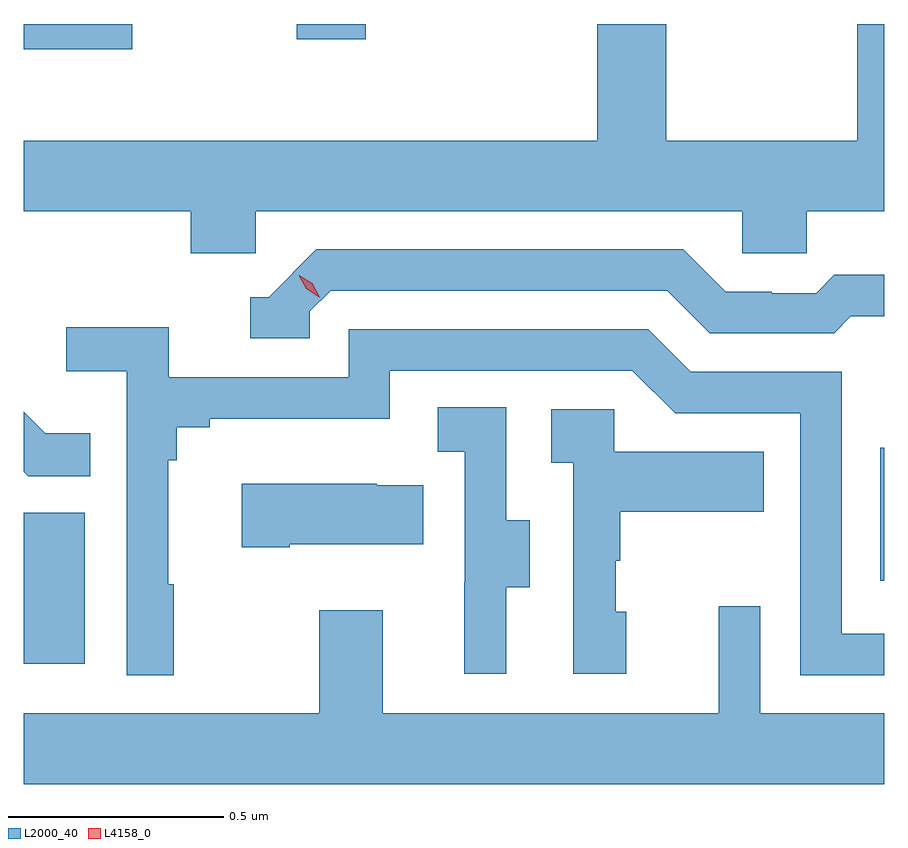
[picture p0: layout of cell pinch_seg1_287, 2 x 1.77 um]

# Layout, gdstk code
import gdstk
lib = gdstk.Library(unit=1e-6, precision=1e-09)
def R(c, l, rs):  # rectangles x0, y0, x1, y1
    for r in rs: c.add(gdstk.rectangle(r[:2], r[2:], *l))
def P(c, l, *ps):  # polygons
    for p in ps: c.add(gdstk.Polygon(p, *l))
L2000_40 = (2000, 40)
L4158_0 = (4158, 0)

pinch_seg1_287 = lib.new_cell('pinch_seg1_287')
R(pinch_seg1_287, L2000_40, [(901.735,548.016,901.876,548.367), (903.726,548.208,903.735,548.518), (901.735,549.444,901.987,549.503), (902.369,549.468,902.53,549.503)])
P(pinch_seg1_287, L2000_40, [(902.274,549.068),(903.405,549.068),(903.405,548.97),(903.555,548.97),(903.555,549.068),(903.735,549.068),(903.735,549.503),(903.673,549.503),(903.673,549.232),(903.228,549.232),(903.228,549.503),(903.068,549.503),(903.068,549.232),(901.735,549.232),(901.735,549.068),(902.123,549.068),(902.123,548.97),(902.274,548.97)],
  [(902.4,548.835),(902.448,548.883),(903.231,548.883),(903.33,548.784),(903.619,548.784),(903.658,548.823),(903.735,548.823),(903.735,548.92),(903.619,548.92),(903.577,548.877),(903.474,548.877),(903.474,548.88),(903.367,548.88),(903.268,548.979),(902.415,548.979),(902.304,548.868),(902.261,548.868),(902.261,548.772),(902.4,548.772)],
  [(902.083,548.201),(902.071,548.201),(902.071,548.489),(902.09,548.489),(902.09,548.566),(902.167,548.566),(902.167,548.585),(902.586,548.585),(902.586,548.697),(903.15,548.697),(903.249,548.598),(903.54,548.598),(903.54,547.989),(903.735,547.989),(903.735,548.085),(903.636,548.085),(903.636,548.694),(903.286,548.694),(903.187,548.793),(902.49,548.793),(902.49,548.682),(902.072,548.682),(902.072,548.798),(901.833,548.798),(901.833,548.696),(901.974,548.696),(901.974,547.989),(902.083,547.989)],
  [(902.857,548.194),(902.911,548.194),(902.911,548.349),(902.856,548.349),(902.856,548.612),(902.697,548.612),(902.697,548.509),(902.76,548.509),(902.76,548.205),(902.759,548.205),(902.759,547.992),(902.857,547.992)],
  [(903.136,548.136),(903.111,548.136),(903.111,548.255),(903.121,548.255),(903.121,548.369),(903.455,548.369),(903.455,548.509),(903.108,548.509),(903.108,548.607),(902.961,548.607),(902.961,548.483),(903.012,548.483),(903.012,547.992),(903.136,547.992)],
  [(901.889,548.551),(901.785,548.551),(901.735,548.601),(901.735,548.462),(901.745,548.452),(901.889,548.452)],
  [(902.353,548.294),(902.663,548.294),(902.663,548.431),(902.555,548.431),(902.555,548.434),(902.241,548.434),(902.241,548.287),(902.353,548.287)],
  [(903.735,547.9),(903.447,547.9),(903.447,548.149),(903.35,548.149),(903.35,547.9),(902.569,547.9),(902.569,548.14),(902.422,548.14),(902.422,547.9),(901.735,547.9),(901.735,547.736),(903.735,547.736)])
P(pinch_seg1_287, L4158_0, [(902.422,548.868),(902.391,548.887),(902.374,548.919),(902.374,548.919),(902.375,548.919),(902.406,548.9),(902.423,548.868),(902.423,548.868)])

lib.write_gds('pinch_seg1_287.gds')
